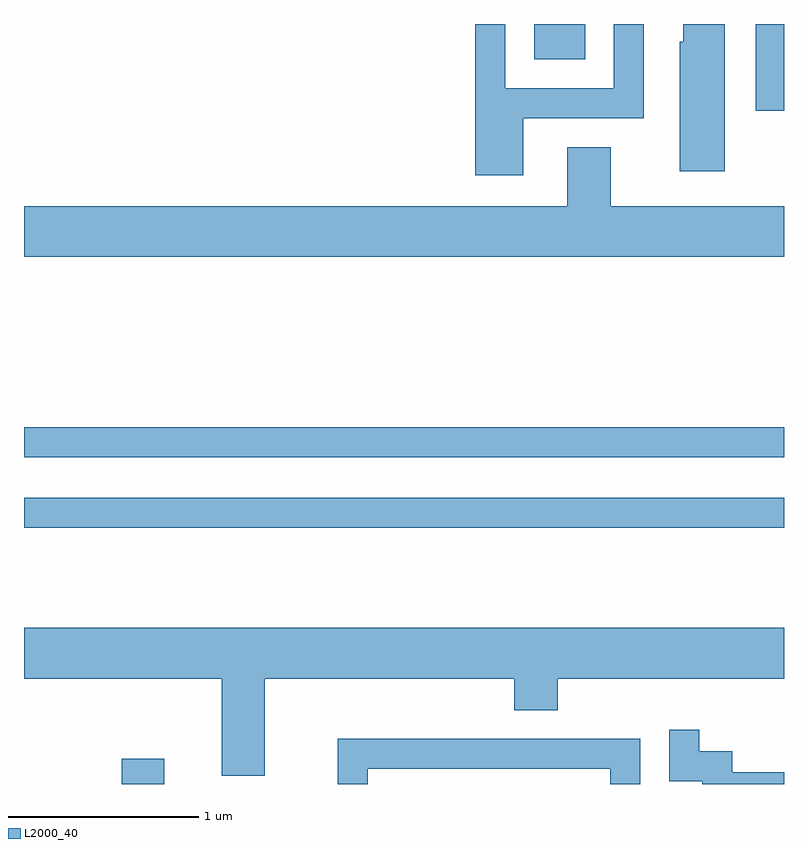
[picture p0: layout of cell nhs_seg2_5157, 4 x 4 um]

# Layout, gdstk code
import gdstk
lib = gdstk.Library(unit=1e-6, precision=1e-09)
def R(c, l, rs):  # rectangles x0, y0, x1, y1
    for r in rs: c.add(gdstk.rectangle(r[:2], r[2:], *l))
def P(c, l, *ps):  # polygons
    for p in ps: c.add(gdstk.Polygon(p, *l))
L2000_40 = (2000, 40)

nhs_seg2_5157 = lib.new_cell('nhs_seg2_5157')
R(nhs_seg2_5157, L2000_40, [(338.126,1007.802,338.349,1007.934), (337.611,1009.151,341.611,1009.309), (337.611,1009.521,341.611,1009.679), (341.461,1011.346,341.611,1011.802), (340.296,1011.616,340.564,1011.802)])
P(nhs_seg2_5157, L2000_40, [(341.299,1011.802),(341.081,1011.802),(341.081,1011.709),(341.061,1011.709),(341.061,1011.026),(341.299,1011.026)],
  [(340.239,1011.306),(340.874,1011.306),(340.874,1011.802),(340.716,1011.802),(340.716,1011.464),(340.144,1011.464),(340.144,1011.802),(339.986,1011.802),(339.986,1011.006),(340.239,1011.006)],
  [(341.611,1010.844),(340.699,1010.844),(340.699,1011.154),(340.471,1011.154),(340.471,1010.844),(337.611,1010.844),(337.611,1010.576),(341.611,1010.576)],
  [(338.879,1008.356),(340.191,1008.356),(340.191,1008.191),(340.419,1008.191),(340.419,1008.356),(341.611,1008.356),(341.611,1008.624),(337.611,1008.624),(337.611,1008.356),(338.651,1008.356),(338.651,1007.846),(338.879,1007.846)],
  [(341.611,1007.864),(341.339,1007.864),(341.339,1007.974),(341.164,1007.974),(341.164,1008.088),(341.006,1008.088),(341.006,1007.816),(341.181,1007.816),(341.181,1007.802),(341.611,1007.802)],
  [(339.419,1007.881),(340.696,1007.881),(340.696,1007.802),(340.854,1007.802),(340.854,1008.039),(339.261,1008.039),(339.261,1007.802),(339.419,1007.802)])

lib.write_gds('nhs_seg2_5157.gds')
